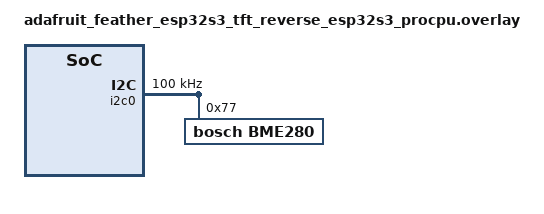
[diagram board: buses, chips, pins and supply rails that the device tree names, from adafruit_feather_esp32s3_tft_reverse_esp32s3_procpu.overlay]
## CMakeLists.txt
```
# SPDX-License-Identifier: Apache-2.0

cmake_minimum_required(VERSION 3.20.0)
find_package(Zephyr REQUIRED HINTS $ENV{ZEPHYR_BASE})
project(02-Sensor_Test)

FILE(GLOB app_sources src/*.c)
target_sources(app PRIVATE ${app_sources})
```

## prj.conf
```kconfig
CONFIG_SENSOR=y
CONFIG_SENSOR_ASYNC_API=y
```

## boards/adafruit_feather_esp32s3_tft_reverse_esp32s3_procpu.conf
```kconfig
CONFIG_POWER_DOMAIN=y
CONFIG_GPIO=y
CONFIG_PM_DEVICE=y
CONFIG_PM_DEVICE_POWER_DOMAIN=y
```

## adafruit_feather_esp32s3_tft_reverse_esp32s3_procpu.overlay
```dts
&i2c0 {
    status = "okay";
    clock-frequency = <I2C_BITRATE_STANDARD>;
    
    bme280: bme280@77 {
        compatible = "bosch,bme280";
        reg = <0x77>;
        status = "okay";
    };
};
```

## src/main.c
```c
/*
 * Copyright (c) 2012-2014 Wind River Systems, Inc.
 * Copyright (c) 2021 Nordic Semiconductor ASA
 *
 * SPDX-License-Identifier: Apache-2.0
 */

#include <zephyr/kernel.h>
#include <zephyr/device.h>
#include <zephyr/devicetree.h>
#include <zephyr/drivers/gpio.h>
#include <zephyr/drivers/sensor.h>
#include <zephyr/drivers/sensor_data_types.h>
#include <zephyr/rtio/rtio.h>
#include <zephyr/dsp/print_format.h>
#include <zephyr/sys/printk.h>

/*
 * Get a device structure from a devicetree node with compatible
 * "bosch,bme280". (If there are multiple, just pick one.)
 */
const struct device *const dev = DEVICE_DT_GET_ANY(bosch_bme280);

SENSOR_DT_READ_IODEV(iodev, DT_COMPAT_GET_ANY_STATUS_OKAY(bosch_bme280),
		{SENSOR_CHAN_AMBIENT_TEMP, 0},
		{SENSOR_CHAN_HUMIDITY, 0},
		{SENSOR_CHAN_PRESS, 0});

RTIO_DEFINE(ctx, 1, 1);

static const struct device *check_bme280_device(void)
{
	if (dev == NULL) {
		/* No such node, or the node does not have status "okay". */
		printk("\nError: no device found.\n");
		return NULL;
	}

	if (!device_is_ready(dev)) {
		printk("\nError: Device \"%s\" is not ready; "
		       "check the driver initialization logs for errors.\n",
		       dev->name);
		return NULL;
	}

	printk("Found device \"%s\", getting sensor data\n", dev->name);
	return dev;
}

int main(void)
{
    /* Add delay and multiple init messages to help with debugging */
    k_msleep(1000);
    
    printk("\n\n=== BME280 Sensor Test STARTING ===\n");
    printk("ESP32-S3 Feather TFT Reverse\n");
    printk("Zephyr Build: %s\n", __DATE__);
    printk("===================================\n\n");

	const struct device *dev = check_bme280_device();

	if (dev == NULL) {
		return 0;
	}

	while (1) {
		uint8_t buf[128];

		int rc = sensor_read(&iodev, &ctx, buf, 128);

		if (rc != 0) {
			printk("%s: sensor_read() failed: %d\n", dev->name, rc);
			return rc;
		}

		const struct sensor_decoder_api *decoder;

		rc = sensor_get_decoder(dev, &decoder);

		if (rc != 0) {
			printk("%s: sensor_get_decode() failed: %d\n", dev->name, rc);
			return rc;
		}

		uint32_t temp_fit = 0;
		struct sensor_q31_data temp_data = {0};

		decoder->decode(buf,
			(struct sensor_chan_spec) {SENSOR_CHAN_AMBIENT_TEMP, 0},
			&temp_fit, 1, &temp_data);

		uint32_t press_fit = 0;
		struct sensor_q31_data press_data = {0};

		decoder->decode(buf,
				(struct sensor_chan_spec) {SENSOR_CHAN_PRESS, 0},
				&press_fit, 1, &press_data);

		uint32_t hum_fit = 0;
		struct sensor_q31_data hum_data = {0};

		decoder->decode(buf,
				(struct sensor_chan_spec) {SENSOR_CHAN_HUMIDITY, 0},
				&hum_fit, 1, &hum_data);

		printk("temp: %s%d.%d; press: %s%d.%d; humidity: %s%d.%d\n",
			PRIq_arg(temp_data.readings[0].temperature, 6, temp_data.shift),
			PRIq_arg(press_data.readings[0].pressure, 6, press_data.shift),
			PRIq_arg(hum_data.readings[0].humidity, 6, hum_data.shift));

		k_msleep(1000);
	}
	return 0;
}
```
